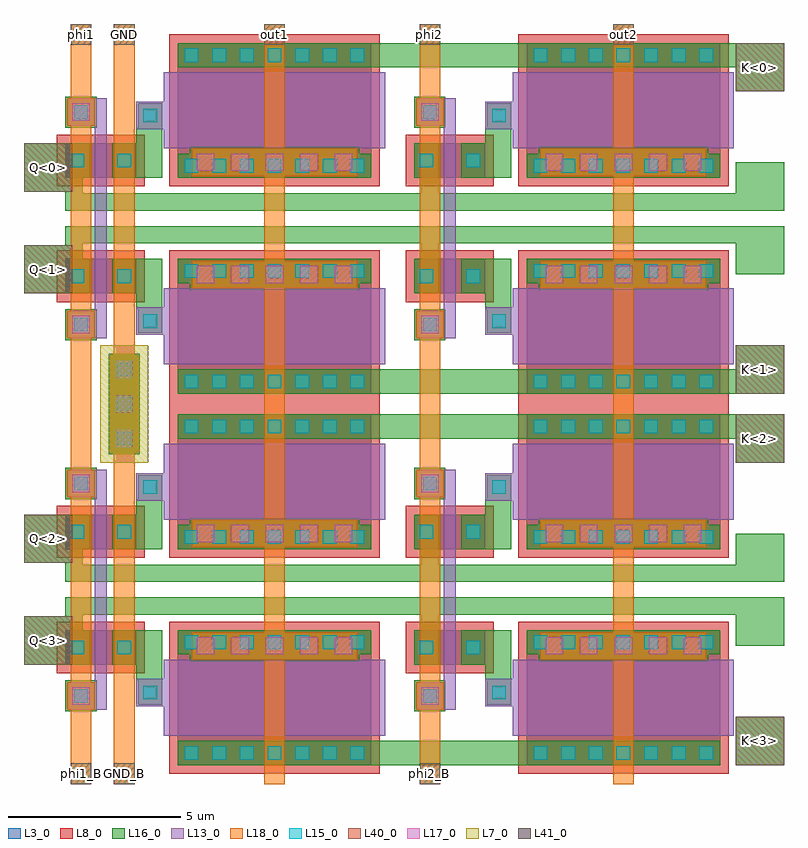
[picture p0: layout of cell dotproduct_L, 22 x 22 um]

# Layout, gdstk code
from math import pi, radians
import gdstk
lib = gdstk.Library(unit=1e-6, precision=1e-09)
def R(c, l, rs):  # rectangles x0, y0, x1, y1
    for r in rs: c.add(gdstk.rectangle(r[:2], r[2:], *l))
def A(c, l, x, y, w, h, nx, ny, dx, dy):  # array of equal rectangles
    R(c, l, [(x+i*dx, y+j*dy, x+i*dx+w, y+j*dy+h) for i in range(nx) for j in range(ny)])
L3_0 = (3, 0)
L7_0 = (7, 0)
L8_0 = (8, 0)
L13_0 = (13, 0)
L15_0 = (15, 0)
L16_0 = (16, 0)
L17_0 = (17, 0)
L18_0 = (18, 0)
L40_0 = (40, 0)
L41_0 = (41, 0)

nch_cdns_755200309550 = lib.new_cell('nch_CDNS_755200309550')
R(nch_cdns_755200309550, L3_0, [(-0.85,0,-0.15,1), (-0.85,0,-0.15,1), (-0.15,0,0.5,1), (0.5,0,1.2,1), (0.5,0,1.2,1)])
R(nch_cdns_755200309550, L8_0, [(-1.1,-0.25,1.45,1.25)])
R(nch_cdns_755200309550, L13_0, [(0,-0.4,0.35,1.4)])
R(nch_cdns_755200309550, L15_0, [(-0.7,0.3,-0.3,0.7), (0.65,0.3,1.05,0.7)])
R(nch_cdns_755200309550, L16_0, [(-0.85,0,-0.15,1), (0.5,0,1.2,1)])
nch_cdns_755200309550.add(gdstk.Label('& SerialNumber 000000', (0,0), layer=16, texttype=0))
nch_cdns_755200309550.add(gdstk.Label('& Distributor VIS', (0,0), layer=16, texttype=0))
nch_cdns_755200309550.add(gdstk.Label('& Metric 1', (0,0), layer=16, texttype=0))
nch_cdns_755200309550.add(gdstk.Label('& Version    \t  1.7A', (0,0), layer=16, texttype=0))
nch_cdns_755200309550.add(gdstk.Label('& PDKName     vis35cv', (0,0), layer=16, texttype=0))
nch_cdns_755200309550.add(gdstk.Label('& Vendor VIS Corp.', (0,0), layer=16, texttype=0))
nch_cdns_755200309550.add(gdstk.Label('D', (0.85,0.5), layer=59, texttype=0))
nch_cdns_755200309550.add(gdstk.Label('S', (-0.5,0.5), layer=59, texttype=0))
nch_cdns_755200309550.add(gdstk.Label('G', (0.175,0.5), layer=59, texttype=0))
nch_cdns_755200309550.add(gdstk.Label('& SerialNumber 000000', (0,0), layer=63, texttype=63))
nch_cdns_755200309550.add(gdstk.Label('& Distributor VIS', (0,0), layer=63, texttype=63))
nch_cdns_755200309550.add(gdstk.Label('& Metric 1', (0,0), layer=63, texttype=63))
nch_cdns_755200309550.add(gdstk.Label('& Version    \t  1.7A', (0,0), layer=63, texttype=63))
nch_cdns_755200309550.add(gdstk.Label('& PDKName     vis35cv', (0,0), layer=63, texttype=63))
nch_cdns_755200309550.add(gdstk.Label('& Vendor VIS Corp.', (0,0), layer=63, texttype=63))

nch_cdns_755200309551 = lib.new_cell('nch_CDNS_755200309551')
R(nch_cdns_755200309551, L3_0, [(-0.85,0,-0.15,5.6), (-0.85,0,-0.15,5.6), (-0.15,0,2.35,5.6), (2.35,0,3.05,5.6), (2.35,0,3.05,5.6)])
R(nch_cdns_755200309551, L8_0, [(-1.1,-0.25,3.3,5.85)])
R(nch_cdns_755200309551, L13_0, [(0,-0.4,2.2,6)])
A(nch_cdns_755200309551, L15_0, -0.7, 0.2, 0.4, 0.4, 1, 7, 0, 0.8)
A(nch_cdns_755200309551, L15_0, 2.5, 0.2, 0.4, 0.4, 1, 7, 0, 0.8)
R(nch_cdns_755200309551, L16_0, [(-0.85,0,-0.15,5.6), (2.35,0,3.05,5.6)])
nch_cdns_755200309551.add(gdstk.Label('& SerialNumber 000000', (0,0), layer=16, texttype=0))
nch_cdns_755200309551.add(gdstk.Label('& Distributor VIS', (0,0), layer=16, texttype=0))
nch_cdns_755200309551.add(gdstk.Label('& Metric 1', (0,0), layer=16, texttype=0))
nch_cdns_755200309551.add(gdstk.Label('& Version    \t  1.7A', (0,0), layer=16, texttype=0))
nch_cdns_755200309551.add(gdstk.Label('& PDKName     vis35cv', (0,0), layer=16, texttype=0))
nch_cdns_755200309551.add(gdstk.Label('& Vendor VIS Corp.', (0,0), layer=16, texttype=0))
nch_cdns_755200309551.add(gdstk.Label('D', (2.7,2.8), layer=59, texttype=0))
nch_cdns_755200309551.add(gdstk.Label('S', (-0.5,2.8), layer=59, texttype=0))
nch_cdns_755200309551.add(gdstk.Label('G', (1.1,2.8), layer=59, texttype=0))
nch_cdns_755200309551.add(gdstk.Label('& SerialNumber 000000', (0,0), layer=63, texttype=63))
nch_cdns_755200309551.add(gdstk.Label('& Distributor VIS', (0,0), layer=63, texttype=63))
nch_cdns_755200309551.add(gdstk.Label('& Metric 1', (0,0), layer=63, texttype=63))
nch_cdns_755200309551.add(gdstk.Label('& Version    \t  1.7A', (0,0), layer=63, texttype=63))
nch_cdns_755200309551.add(gdstk.Label('& PDKName     vis35cv', (0,0), layer=63, texttype=63))
nch_cdns_755200309551.add(gdstk.Label('& Vendor VIS Corp.', (0,0), layer=63, texttype=63))

m1_pactive_cdns_75520030 = lib.new_cell('M1_PACTIVE_CDNS_755200309550')
R(m1_pactive_cdns_75520030, L3_0, [(-0.45,-1.45,0.45,1.45)])
R(m1_pactive_cdns_75520030, L7_0, [(-0.7,-1.7,0.7,1.7)])
A(m1_pactive_cdns_75520030, L15_0, -0.2, -1.2, 0.4, 0.4, 1, 3, 0, 1)
R(m1_pactive_cdns_75520030, L16_0, [(-0.35,-1.35,0.35,1.35)])

m1_poly1_cdns_7552003095 = lib.new_cell('M1_POLY1_CDNS_755200309551')
R(m1_poly1_cdns_7552003095, L13_0, [(-0.4,-0.4,0.4,0.4)])
R(m1_poly1_cdns_7552003095, L15_0, [(-0.2,-0.2,0.2,0.2)])
R(m1_poly1_cdns_7552003095, L16_0, [(-0.35,-0.35,0.35,0.35)])

m2_m1_cdns_755200309552 = lib.new_cell('M2_M1_CDNS_755200309552')
R(m2_m1_cdns_755200309552, L16_0, [(-0.45,-0.45,0.45,0.45)])
R(m2_m1_cdns_755200309552, L17_0, [(-0.25,-0.25,0.25,0.25)])
R(m2_m1_cdns_755200309552, L18_0, [(-0.4,-0.4,0.4,0.4)])

m2_m1_cdns_755200309553 = lib.new_cell('M2_M1_CDNS_755200309553')
R(m2_m1_cdns_755200309553, L16_0, [(-0.45,-1.45,0.45,1.45)])
A(m2_m1_cdns_755200309553, L17_0, -0.25, -1.25, 0.5, 0.5, 1, 3, 0, 1)
R(m2_m1_cdns_755200309553, L18_0, [(-0.4,-1.4,0.4,1.4)])

m2_m1_cdns_755200309554 = lib.new_cell('M2_M1_CDNS_755200309554')
R(m2_m1_cdns_755200309554, L16_0, [(-2.45,-0.45,2.45,0.45)])
A(m2_m1_cdns_755200309554, L17_0, -2.25, -0.25, 0.5, 0.5, 5, 1, 1, 0)
R(m2_m1_cdns_755200309554, L18_0, [(-2.4,-0.4,2.4,0.4)])

dotproduct_l = lib.new_cell('dotproduct_L')
R(dotproduct_l, L8_0, [(4.2,10.95,10.3,11.05), (14.3,10.95,20.4,11.05)])
R(dotproduct_l, L13_0, [(2.05,2.15,2.4,3.05), (12.15,2.15,12.5,3.05), (2.05,8.2,2.4,9.1), (12.15,8.2,12.5,9.1), (2.05,12.9,2.4,13.8), (12.15,12.9,12.5,13.8), (2.05,18.95,2.4,19.85), (12.15,18.95,12.5,19.85)])
R(dotproduct_l, L16_0, [(20.6,0.55,22,1.95), (3.25,3,4,4.45), (13.35,3,14.1,4.45), (0,3.45,1.4,4.85), (20.6,4,22,5.4), (1.2,4.9,21.1,5.4), (1.2,5.85,21.1,6.35), (20.6,5.85,22,7.25), (0,6.4,1.4,7.8), (3.25,6.8,4,8.25), (13.35,6.8,14.1,8.25), (20.6,9.3,22,10.7), (20.6,11.3,22,12.7), (3.25,13.75,4,15.2), (13.35,13.75,14.1,15.2), (0,14.2,1.4,15.6), (20.6,14.75,22,16.15), (1.2,15.65,21.1,16.15), (1.2,16.6,21.1,17.1), (20.6,16.6,22,18), (0,17.15,1.4,18.55), (3.25,17.55,4,19), (13.35,17.55,14.1,19), (20.6,20.05,22,21.45)])
R(dotproduct_l, L40_0, [(20.6,0.55,22,1.95), (0,3.45,1.4,4.85), (0,6.4,1.4,7.8), (20.6,9.3,22,10.7), (20.6,11.3,22,12.7), (0,14.2,1.4,15.6), (0,17.15,1.4,18.55), (20.6,20.05,22,21.45)])
R(dotproduct_l, L41_0, [(1.35,0,1.95,0.6), (2.6,0,3.2,0.6), (11.45,0,12.05,0.6), (11.45,0,12.05,0.6), (1.35,21.4,1.95,22), (2.6,21.4,3.2,22), (6.95,21.4,7.55,22), (11.45,21.4,12.05,22), (11.45,21.4,12.05,22), (17.05,21.4,17.65,22)])
dotproduct_l.add(gdstk.FlexPath([(4.8,11.3),(4.8,11.65)], 0.7, ends=(0, 0.35), simple_path=True, layer=16, datatype=0))  # L16_0
dotproduct_l.add(gdstk.FlexPath([(14.55,0.9),(10.05,0.9)], 0.7, ends="flush", simple_path=True, layer=16, datatype=0))  # L16_0
dotproduct_l.add(gdstk.FlexPath([(10.05,21.1),(22,21.1)], 0.7, ends="flush", simple_path=True, layer=16, datatype=0))  # L16_0
dotproduct_l.add(gdstk.FlexPath([(4.8,11.65),(22,11.65)], 0.7, ends=(0.35, 0), simple_path=True, layer=16, datatype=0))  # L16_0
dotproduct_l.add(gdstk.FlexPath([(4.45,10.35),(22,10.35)], 0.7, ends="flush", simple_path=True, layer=16, datatype=0))  # L16_0
dotproduct_l.add(gdstk.FlexPath([(1.45,4.9),(1.45,4.45)], 0.5, ends="flush", simple_path=True, layer=16, datatype=0))  # L16_0
dotproduct_l.add(gdstk.FlexPath([(11.75,4.9),(11.75,4.45)], 0.5, ends="flush", simple_path=True, layer=16, datatype=0))  # L16_0
dotproduct_l.add(gdstk.FlexPath([(1.45,6.35),(1.45,6.8)], 0.5, ends="flush", simple_path=True, layer=16, datatype=0))  # L16_0
dotproduct_l.add(gdstk.FlexPath([(11.75,6.35),(11.75,6.8)], 0.5, ends="flush", simple_path=True, layer=16, datatype=0))  # L16_0
dotproduct_l.add(gdstk.FlexPath([(1.45,15.65),(1.45,15.2)], 0.5, ends="flush", simple_path=True, layer=16, datatype=0))  # L16_0
dotproduct_l.add(gdstk.FlexPath([(11.75,15.65),(11.75,15.2)], 0.5, ends="flush", simple_path=True, layer=16, datatype=0))  # L16_0
dotproduct_l.add(gdstk.FlexPath([(1.45,17.1),(1.45,17.55)], 0.5, ends="flush", simple_path=True, layer=16, datatype=0))  # L16_0
dotproduct_l.add(gdstk.FlexPath([(11.75,17.1),(11.75,17.55)], 0.5, ends="flush", simple_path=True, layer=16, datatype=0))  # L16_0
dotproduct_l.add(gdstk.FlexPath([(12.325,17.15),(12.325,15.6)], 0.35, ends="flush", simple_path=True, layer=13, datatype=0))  # L13_0
dotproduct_l.add(gdstk.FlexPath([(12.325,7.05),(12.325,4.85)], 0.35, ends="flush", simple_path=True, layer=13, datatype=0))  # L13_0
dotproduct_l.add(gdstk.FlexPath([(2.225,17.15),(2.225,15.6)], 0.35, ends="flush", simple_path=True, layer=13, datatype=0))  # L13_0
dotproduct_l.add(gdstk.FlexPath([(2.225,7.05),(2.225,4.85)], 0.35, ends="flush", simple_path=True, layer=13, datatype=0))  # L13_0
dotproduct_l.add(gdstk.FlexPath([(1.65,2.65),(1.65,0)], 0.6, ends="flush", simple_path=True, layer=18, datatype=0))  # L18_0
dotproduct_l.add(gdstk.FlexPath([(1.65,13.4),(1.65,8.6)], 0.6, ends="flush", simple_path=True, layer=18, datatype=0))  # L18_0
dotproduct_l.add(gdstk.FlexPath([(1.65,13.4),(1.65,19.35)], 0.6, ends="flush", simple_path=True, layer=18, datatype=0))  # L18_0
dotproduct_l.add(gdstk.FlexPath([(1.65,19.35),(1.65,22)], 0.6, ends="flush", simple_path=True, layer=18, datatype=0))  # L18_0
dotproduct_l.add(gdstk.FlexPath([(1.65,8.6),(1.65,2.65)], 0.6, ends="flush", simple_path=True, layer=18, datatype=0))  # L18_0
dotproduct_l.add(gdstk.FlexPath([(2.9,11),(2.9,0)], 0.6, ends="flush", simple_path=True, layer=18, datatype=0))  # L18_0
dotproduct_l.add(gdstk.FlexPath([(7.25,18),(7.25,14.75)], 0.6, ends="flush", simple_path=True, layer=18, datatype=0))  # L18_0
dotproduct_l.add(gdstk.FlexPath([(7.25,4),(7.25,0)], 0.6, ends="flush", simple_path=True, layer=18, datatype=0))  # L18_0
dotproduct_l.add(gdstk.FlexPath([(7.25,7.25),(7.25,4)], 0.6, ends="flush", simple_path=True, layer=18, datatype=0))  # L18_0
dotproduct_l.add(gdstk.FlexPath([(7.25,14.75),(7.25,7.25)], 0.6, ends="flush", simple_path=True, layer=18, datatype=0))  # L18_0
dotproduct_l.add(gdstk.FlexPath([(11.75,19.45),(11.75,13.3)], 0.6, ends="flush", simple_path=True, layer=18, datatype=0))  # L18_0
dotproduct_l.add(gdstk.FlexPath([(11.75,13.3),(11.75,8.7)], 0.6, ends="flush", simple_path=True, layer=18, datatype=0))  # L18_0
dotproduct_l.add(gdstk.FlexPath([(2.9,11),(2.9,22)], 0.6, ends="flush", simple_path=True, layer=18, datatype=0))  # L18_0
dotproduct_l.add(gdstk.FlexPath([(7.25,18),(7.25,22)], 0.6, ends="flush", simple_path=True, layer=18, datatype=0))  # L18_0
dotproduct_l.add(gdstk.FlexPath([(11.75,8.7),(11.75,2.55)], 0.6, ends="flush", simple_path=True, layer=18, datatype=0))  # L18_0
dotproduct_l.add(gdstk.FlexPath([(11.75,2.55),(11.75,0)], 0.6, ends="flush", simple_path=True, layer=18, datatype=0))  # L18_0
dotproduct_l.add(gdstk.FlexPath([(11.75,19.45),(11.75,22)], 0.6, ends="flush", simple_path=True, layer=18, datatype=0))  # L18_0
dotproduct_l.add(gdstk.FlexPath([(17.35,22),(17.35,0)], 0.6, ends="flush", simple_path=True, layer=18, datatype=0))  # L18_0
dotproduct_l.add(gdstk.Reference(nch_cdns_755200309550, (12.15,7.8), x_reflection=True))
dotproduct_l.add(gdstk.Reference(nch_cdns_755200309550, (12.15,4.45), x_reflection=True))
dotproduct_l.add(gdstk.Reference(nch_cdns_755200309550, (2.05,3.45)))
dotproduct_l.add(gdstk.Reference(nch_cdns_755200309550, (12.15,18.55), x_reflection=True))
dotproduct_l.add(gdstk.Reference(nch_cdns_755200309550, (2.05,7.8), x_reflection=True))
dotproduct_l.add(gdstk.Reference(nch_cdns_755200309550, (12.15,14.2)))
dotproduct_l.add(gdstk.Reference(nch_cdns_755200309550, (2.05,14.2)))
dotproduct_l.add(gdstk.Reference(nch_cdns_755200309550, (2.05,18.55), x_reflection=True))
dotproduct_l.add(gdstk.Reference(nch_cdns_755200309551, (14.55,9.85), rotation=3*pi/2))
dotproduct_l.add(gdstk.Reference(nch_cdns_755200309551, (14.55,1.4), rotation=pi/2, x_reflection=True))
dotproduct_l.add(gdstk.Reference(nch_cdns_755200309551, (4.45,1.4), rotation=pi/2, x_reflection=True))
dotproduct_l.add(gdstk.Reference(nch_cdns_755200309551, (20.15,20.6), rotation=3*pi/2, x_reflection=True))
dotproduct_l.add(gdstk.Reference(nch_cdns_755200309551, (4.45,9.85), rotation=3*pi/2))
dotproduct_l.add(gdstk.Reference(nch_cdns_755200309551, (14.55,12.15), rotation=pi/2, x_reflection=True))
dotproduct_l.add(gdstk.Reference(nch_cdns_755200309551, (10.05,12.15), rotation=pi/2))
dotproduct_l.add(gdstk.Reference(nch_cdns_755200309551, (10.05,20.6), rotation=3*pi/2, x_reflection=True))
dotproduct_l.add(gdstk.Reference(m1_pactive_cdns_75520030, (2.9,11)))
dotproduct_l.add(gdstk.Reference(m1_poly1_cdns_7552003095, (11.75,2.55)))
dotproduct_l.add(gdstk.Reference(m1_poly1_cdns_7552003095, (11.75,13.3)))
dotproduct_l.add(gdstk.Reference(m1_poly1_cdns_7552003095, (13.75,2.65)))
dotproduct_l.add(gdstk.Reference(m1_poly1_cdns_7552003095, (1.65,2.55)))
dotproduct_l.add(gdstk.Reference(m1_poly1_cdns_7552003095, (3.65,8.6), x_reflection=True))
dotproduct_l.add(gdstk.Reference(m1_poly1_cdns_7552003095, (3.65,19.35), x_reflection=True))
dotproduct_l.add(gdstk.Reference(m1_poly1_cdns_7552003095, (13.75,13.4)))
dotproduct_l.add(gdstk.Reference(m1_poly1_cdns_7552003095, (3.65,2.65)))
dotproduct_l.add(gdstk.Reference(m1_poly1_cdns_7552003095, (1.65,19.45)))
dotproduct_l.add(gdstk.Reference(m1_poly1_cdns_7552003095, (13.75,8.6), x_reflection=True))
dotproduct_l.add(gdstk.Reference(m1_poly1_cdns_7552003095, (3.65,13.4)))
dotproduct_l.add(gdstk.Reference(m1_poly1_cdns_7552003095, (11.75,8.7)))
dotproduct_l.add(gdstk.Reference(m1_poly1_cdns_7552003095, (11.75,19.45)))
dotproduct_l.add(gdstk.Reference(m1_poly1_cdns_7552003095, (13.75,19.35), x_reflection=True))
dotproduct_l.add(gdstk.Reference(m1_poly1_cdns_7552003095, (1.65,13.3)))
dotproduct_l.add(gdstk.Reference(m1_poly1_cdns_7552003095, (1.65,8.7)))
dotproduct_l.add(gdstk.Reference(m2_m1_cdns_755200309552, (11.75,2.55)))
dotproduct_l.add(gdstk.Reference(m2_m1_cdns_755200309552, (11.75,13.3)))
dotproduct_l.add(gdstk.Reference(m2_m1_cdns_755200309552, (1.65,13.3)))
dotproduct_l.add(gdstk.Reference(m2_m1_cdns_755200309552, (1.65,8.7)))
dotproduct_l.add(gdstk.Reference(m2_m1_cdns_755200309552, (1.65,2.55)))
dotproduct_l.add(gdstk.Reference(m2_m1_cdns_755200309552, (11.75,8.7)))
dotproduct_l.add(gdstk.Reference(m2_m1_cdns_755200309552, (11.75,19.45)))
dotproduct_l.add(gdstk.Reference(m2_m1_cdns_755200309552, (1.65,19.45)))
dotproduct_l.add(gdstk.Reference(m2_m1_cdns_755200309553, (2.9,11)))
dotproduct_l.add(gdstk.Reference(m2_m1_cdns_755200309554, (17.35,18)))
dotproduct_l.add(gdstk.Reference(m2_m1_cdns_755200309554, (17.35,14.75)))
dotproduct_l.add(gdstk.Reference(m2_m1_cdns_755200309554, (17.35,7.25)))
dotproduct_l.add(gdstk.Reference(m2_m1_cdns_755200309554, (17.35,4)))
dotproduct_l.add(gdstk.Reference(m2_m1_cdns_755200309554, (7.25,4)))
dotproduct_l.add(gdstk.Reference(m2_m1_cdns_755200309554, (7.25,7.25)))
dotproduct_l.add(gdstk.Reference(m2_m1_cdns_755200309554, (7.25,14.75)))
dotproduct_l.add(gdstk.Reference(m2_m1_cdns_755200309554, (7.25,18)))
dotproduct_l.add(gdstk.Label('K<0>', (21.3,20.75), layer=40, texttype=0))
dotproduct_l.add(gdstk.Label('K<1>', (21.3,12), layer=40, texttype=0))
dotproduct_l.add(gdstk.Label('Q<2>', (0.7,7.1), layer=40, texttype=0))
dotproduct_l.add(gdstk.Label('K<3>', (21.3,1.25), layer=40, texttype=0))
dotproduct_l.add(gdstk.Label('Q<3>', (0.7,4.15), layer=40, texttype=0))
dotproduct_l.add(gdstk.Label('K<2>', (21.3,10), layer=40, texttype=0))
dotproduct_l.add(gdstk.Label('Q<1>', (0.7,14.9), layer=40, texttype=0))
dotproduct_l.add(gdstk.Label('Q<0>', (0.7,17.85), layer=40, texttype=0))
dotproduct_l.add(gdstk.Label('phi1_B', (1.65,0.3), layer=41, texttype=0))
dotproduct_l.add(gdstk.Label('GND_B', (2.9,0.3), layer=41, texttype=0))
dotproduct_l.add(gdstk.Label('phi2_B', (11.75,0.3), layer=41, texttype=0))
dotproduct_l.add(gdstk.Label('phi2', (11.75,0.3), layer=41, texttype=0))
dotproduct_l.add(gdstk.Label('phi2', (11.75,21.7), layer=41, texttype=0))
dotproduct_l.add(gdstk.Label('GND', (2.9,21.7), layer=41, texttype=0))
dotproduct_l.add(gdstk.Label('phi1', (1.65,21.7), layer=41, texttype=0))
dotproduct_l.add(gdstk.Label('out2', (17.35,21.7), layer=41, texttype=0))
dotproduct_l.add(gdstk.Label('phi2', (11.75,21.7), layer=41, texttype=0))
dotproduct_l.add(gdstk.Label('out1', (7.25,21.7), layer=41, texttype=0))

lib.write_gds('dotproduct_L.gds')
